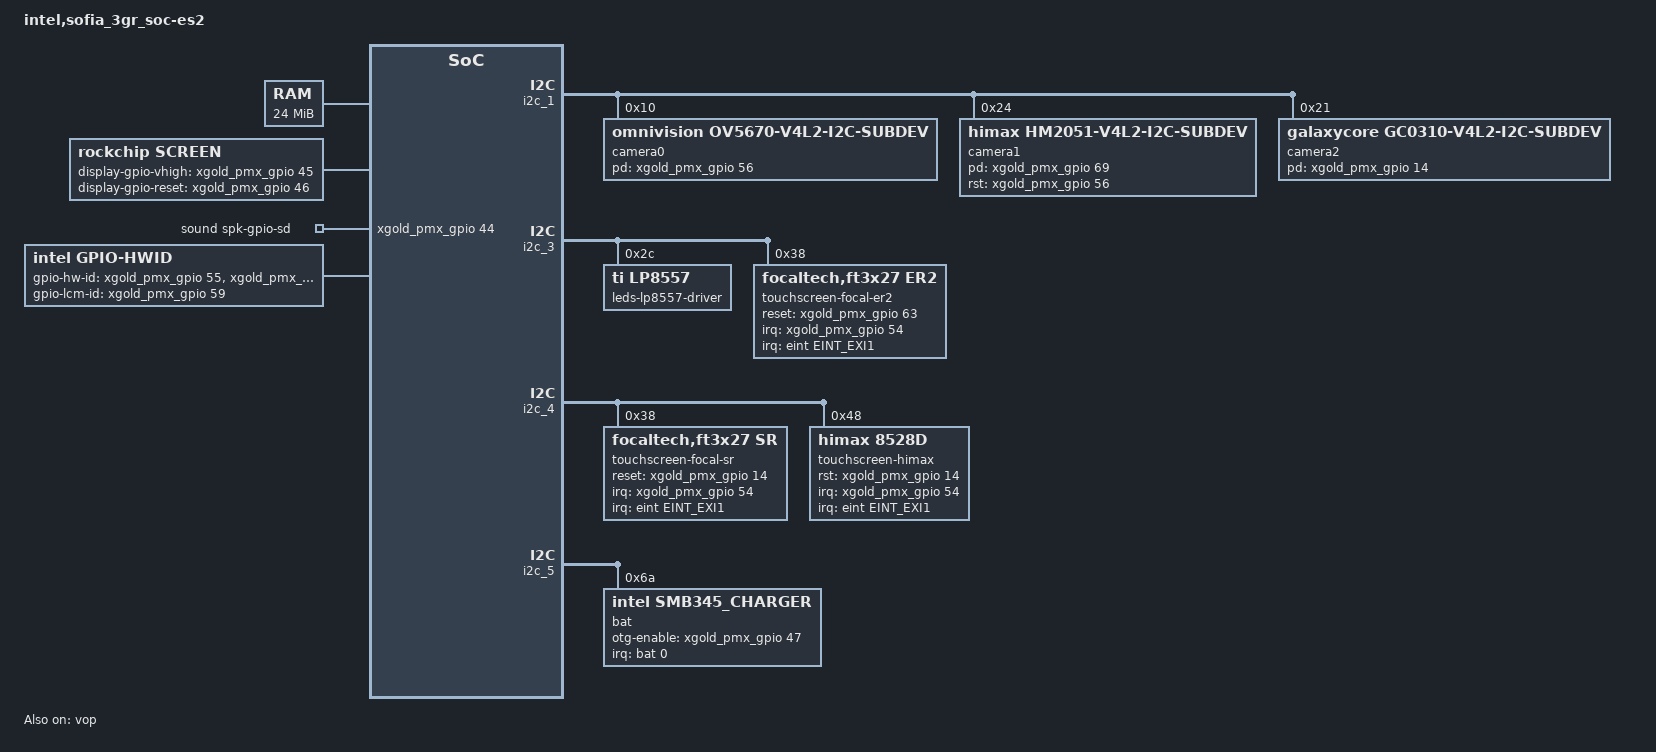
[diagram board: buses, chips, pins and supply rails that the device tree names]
/dts-v1/;
#include "xgold/sofia_3gr_soc/irq.h"
#include <dt-bindings/sofiafb/sofia_fb.h>
/ {
	#address-cells = <1>;
	#size-cells = <1>;
	model = "intel,sofia_3gr_soc-es2";
	compatible = "intel,sofia_3gr_soc-svb", "intel,xgold";

	#define SOFIA_3GR_GARNET_4_LEVEL_CPUFREQ
	#include "xgold/sofia_3gr_soc/sofia_3gr_soc_garnet.dtsi"
	#include "xgold/sofia_3gr_soc/irq.dtsi"
	#include "xgold/mobilevisor/mobilevisor.dtsi"
	#include "xgold/sofia_3gr_soc/clock-es1.dtsi"
	#include "xgold/sofia_3gr_soc/regulator.dtsi"
	#include "xgold/sofia_3gr_soc/device-pm-reg_garnet.dtsi"
	#include "xgold/pmic/granite.dtsi"
	#include "xgold/sofia_3gr_soc/cpufreq.dtsi"
	chosen {
	};

	aliases {
	};

	memory {
		device_type = "memory";
		reg = <0x800000 0x1800000>;
	};

	reserved-memory {
		#address-cells = <1>;
		#size-cells = <1>;
		ranges;

		/* global autoconfigured region for contiguous allocations */
		cma_default_region: region@0 {
			size = <0x03000000>;
			limit = <0x10000000>;
			linux,cma-default;
		};
		/* special region for secured processing devices */
		secured_rga_region: region@10000000 {
			reg = <0x10000000 0x01000000>;
			no-map;
			linux,cma;
			isolate;
		};
		secured_region: region@11000000 {
			reg = <0x11000000 0x05000000>;
			no-map;
			linux,cma;
		};
	};

	vmodem {
		compatible = "intel,vmodem";
		vmodem,nvm-part = < 3 >;
		vmodem,part-names =
			"/dev/block/platform/soc0/e0000000.noc/by-name/ImcPartID022",
			"/dev/block/platform/soc0/e0000000.noc/by-name/ImcPartID023",
			"/dev/block/platform/soc0/e0000000.noc/by-name/ImcPartID024";
		part-addr,part-size =
			<0x1FA78000 0x40000>,
			<0x1fab8000 0x40000>,
			<0x1FAF8000 0x80000>;
	};

	ion {
		compatible = "rockchip,ion";
#ifndef RECOVERY_KERNEL
		secvm-handler;
#endif
		#address-cells = < 1 >;
		#size-cells = < 0 >;
		cma-heap {
			memory-region = <&cma_default_region>;
			rockchip,ion_heap = < 4 >;
		};
		system-heap {
			rockchip,ion_heap = < 0 >;
		};
		secured-rga-heap {
			memory-region = <&secured_rga_region>;
			rockchip,ion_heap = < 5 >;
		};
		secured-heap {
			memory-region = <&secured_region>;
			rockchip,ion_heap = < 6 >;
		};
	};

	backlight:agold620-backlight {
		compatible = "intel,agold620-led";
		reg = <0xE6501800 0x154
			0xE6401134 0x4>;
		reg-names = "pmu-bl", "cgu-bl";
		intel,flags-use-safe-ctrl;
		pm,class-name = "bl_class";
		pm,user-name = "bl";
		pm,state-D0 = "enable";
		pm,state-D3 = "disable";
		intel,led-k2 = <0x143>;
		intel,led-k1max = <0x120>;
		intel,led-k2max = <0xFFFF>;
		intel,led-up = <0x104>;
		intel,led-down = <0x200>;
		intel,led-safe = <0x811>;
		intel,bl-gpio-enable = <&xgold_pmx_gpio 71 0>;
		intel,vmm-secured-access;
		pinctrl-names = "default", "sleep", "inactive";
		pinctrl-0 = <&led_agold_default_pins>;
		pinctrl-1 = <&led_agold_sleep_pins>;
		pinctrl-2 = <&led_agold_inactive_pins>;
        };

#ifndef RECOVERY_KERNEL
	/*headset:headset {
		compatible = "intel,headset";
		#address-cells = < 0 >;
		reg = <0xE6501C00 0x4>;
		reg-names = "headset-registers";
		interrupts = < 0 1 >;
		interrupt-parent = < &headset>;
		#interrupt-cells = < 1 >;
		interrupt-map = <
			 0 &ag620_pmu ABB_PMU_ACD1 XGOLD_IRQ_TYPE_NONE
			 1 &ag620_pmu ABB_PMU_ACD2 XGOLD_IRQ_TYPE_NONE
			>;
		interrupt-names = "acd1", "acd2";
		io-channel-names = "ACCID_ADC";
		io-channels = < &meas 4 >;
	};*/
#endif
	fb {
		compatible = "rockchip,fb";
		rockchip,disp-mode = <NO_DUAL>;
		rockchip,loader-logo-on = <1>;
		rockchip,ion-drv = "rockchip";
	};

	screen {
		compatible = "rockchip,screen", "intel,screen";
		pm,class-name = "generic_class";
		pm,user-name = "lcd";
		pm,state-D0 = "enable";
		pm,state-D3 = "disable";
		intel,display-gpio-vhigh = <&xgold_pmx_gpio 45 0>;
		intel,display-gpio-reset = <&xgold_pmx_gpio 46 0>;
		#include "xgold/display/boe_tv070wsm.dtsi"
		#include "xgold/display/auo_b070atn02.dtsi"
	};

	graphics {
		compatible = "intel,graphics";
		intel,gpu-shared-mem = <0x20000000>;
		intel,dcc-fbpixelformat= "RGB888";
		intel,dcc-debug-level = <1>;
		intel,fb-api = <1>;
#ifdef RECOVERY_KERNEL
		intel,dcc-mem = < 0x00800000 >;
#else
		intel,dcc-use-fences = <1>;
		intel,dcc-mem = < 0x00400000 >;
		intel,prot-mem = < 0x08000000 0x08000000>;
#endif
	};


#ifndef RECOVERY_KERNEL
	sound {
		compatible = "intel,xgold-snd-asoc";
		intel,audio-codec = < &afe >;
		intel,pcm-audio = <&pcm_music>;
		intel,pcm-voice = <&pcm_voice>;
		intel,speech = <&speech_probe>;
		intel,jack = <&headset>;
		intel,spk-gpio-sd = <&xgold_pmx_gpio 44 0>;
		intel,hs-button-levels = <0 65 130 220 225 450>;
		intel,hs-type-levels = <0 65 475 1800>;
	};
#endif
	hwid {
		compatible = "intel,gpio-hwid";
		intel,gpio-hw-id =
			<&xgold_pmx_gpio 55 0>,
			<&xgold_pmx_gpio 48 0>;
		intel,gpio-lcm-id =
			<&xgold_pmx_gpio 59 0>;
		intel,vmm-secured-access;
	};
};

&eint {
	/* intel,virq,x = <0>; means EINTx is owned & requested by IRQ framework */
	intel,virq,0 = <0>; /* EINT_EXI0: ??? */
	intel,virq,1 = <0>; /* EINT_EXI1: TOUCH */
	intel,virq,2 = <0>; /* EINT_EXI2: ??? */
	intel,virq,3 = <0>; /* EINT_EXI3: ??? */
	intel,virq,4 = <1>; /* EINT_EXI4 */
	intel,virq,5 = <1>; /* EINT_EXI5 */
	intel,virq,6 = <0>; /* EINT_EXI6: ??? */
	intel,virq,7 = <1>; /* EINT_EXI7 */
	intel,virq,8 = <0>; /* EINT_EXI8 */
	intel,virq,9 = <1>; /* EINT_EXI9 */
	intel,virq,10 = <1>; /* EINT_EXI10 */
	intel,virq,11 = <1>; /* EINT_EXI11 */
	intel,virq,12 = <0>; /* EINT_EXI12: ??? */
	intel,virq,13 = <1>; /* EINT_EXI13 */
	intel,virq,14 = <1>; /* EINT_EXI14 */
	intel,virq,15 = <1>; /* EINT_EXI15 */
	intel,virq,16 = <0>; /* EINT_USB_HS_RESUME */
	intel,virq,17 = <1>; /* EINT_SDMMC_DETECT */
	intel,virq,18 = <1>; /* EINT_SDIO_DAT3 */
	intel,virq,19 = <1>; /* EINT_SDIO_DAT1 */
	intel,virq,20 = <0>; /* EINT_USIF1_WK */
	intel,virq,21 = <1>; /* EINT_USIF2_WK */
	intel,virq,22 = <1>; /* EINT_WUP_DBB */
	intel,virq,23 = <1>; /* EINT_U2H */
	intel,virq,24 = <1>; /* EINT_G3FP */
	intel,virq,25 = <1>; /* EINT_DTXS */
	intel,virq,26 = <1>; /* EINT_DRXS */
	intel,virq,27 = <1>; /* EINT_WDT0 */
	intel,virq,28 = <1>; /* EINT_WDT1 */
	intel,virq,29 = <0>; /* EINT_USB_ID */

	intel,preack,8 = <1>; /* EINT_EXI8 */
	intel,preack,16 = <1>; /* EINT_USB_HS_RESUME*/
	intel,preack,20 = <1>; /* EINT_USIF1_WK */
};

&idi_per {
	#define SOFIA_3GR_GARNET_EVB
	#include "xgold/agold620/agold620.dtsi"
};

&bat_hal {
	#define BAT_TYPE_LC 0
	#define POWER_SUPPLY_TECHNOLOGY_LION 2

	supp_batids =  < 0 BAT_TYPE_LC >;

	supp_batids-map = "standrd";

	prof-standrd = < POWER_SUPPLY_TECHNOLOGY_LION /*battery_type*/
				  2885 /*capacity*/
				  4350 /*voltage_max*/
				  144 /*chrg_term_ma*/
				  3200 /*low_batt_mv*/
				  60 /*disch_tmp_ul*/
				  0xffffffec /*disch_tmp_ll (-20)*/
				  0 /*min_temp*/
				  3 /*min_temp_restart*/
				  42 /*max_temp_restart*/ >;

	prof-standrd-cap_to_vbat_ocv = <
		3202 3378 3493 3569 3624 3661 3674 3680 3685 3689
		3692 3696 3700 3705 3713 3721 3728 3735 3742 3747
		3752 3758 3763 3767 3770 3773 3776 3778 3780 3782
		3784 3787 3789 3791 3794 3796 3799 3802 3805 3808
		3811 3815 3818 3822 3826 3830 3834 3839 3844 3848
		3854 3859 3865 3871 3877 3884 3891 3899 3907 3915
		3922 3930 3938 3946 3954 3963 3971 3979 3988 3996
		4005 4014 4023 4033 4043 4053 4062 4072 4082 4091
		4102 4112 4122 4133 4143 4154 4165 4176 4187 4198
		4209 4220 4232 4243 4255 4266 4277 4286 4297 4307
		4314 >;


	prof-standrd-ntemp_ranges = <1>;

	prof-standrd-temp_range0 = < 45 /*max_temp*/
					     4320 /*full_chrg_vol*/
					     1500 /*full_chrg_cur*/
					     98 /*charging_res_cap*/
					     4320 /*maint_chrg_vol_ul*/
					     1500 /*maint_chrg_cur*/ >;

	nprofiles = <1>;
};

&fuel_gauge_hal {
	sense_resistor_mohm = <20>;
	gain_error_1_uc_per_mc = <30>;
	gain_error_2_uc_per_mc = <30>;
};

&usif1 {
	pinctrl-names = "default", "sleep", "inactive";
	pinctrl-0 = <&usif1_default_pins>;
	pinctrl-1 = <&usif1_sleep_pins>;
	pinctrl-2 = <&usif1_inactive_pins>;
};
&usif2 {
	pinctrl-names = "default", "sleep", "inactive", "reset";
	pinctrl-0 = <&usif2_default_pins>;
	pinctrl-1 = <&usif2_sleep_pins>;
	pinctrl-2 = <&usif2_inactive_pins>;
	pinctrl-3 = <&usif2_reset_pins>;
};

&i2c_1 {
	pinctrl-names = "default", "sleep", "inactive";
	pinctrl-0 = <&i2c1_default_pins>;
	pinctrl-1 = <&i2c1_sleep_pins>;
	pinctrl-2 = <&i2c1_inactive_pins>;
#ifndef RECOVERY_KERNEL
	camera0: camera-module@0 {
		compatible = "omnivision,ov5670-v4l2-i2c-subdev";
		reg = < 0x10 >;
		device_type = "v4l2-i2c-subdev";

		pinctrl-names = "default", "sleep", "inactive";
		pinctrl-0 = <&cam1_default_pins>;
		pinctrl-1 = <&cam1_sleep_pins>;
		pinctrl-2 = <&cam1_inactive_pins>;

		intel,pd-gpio = <&xgold_pmx_gpio 56 0>;
		/*intel,rst-gpio = <&xgold_pmx_gpio 56 0>;*/
		/*intel,pd-gpio_1v2 = <&xgold_pmx_gpio 68 0>;*/
		intel,pd-gpio-is_active_low;
		/*intel,rst-gpio-is_active_low;*/

		pm,class-name = "generic_class";
		pm,user-name = "primcam";
		pm,state-D0 = "enable";
		pm,state-D3 = "disable";

		/* ["front","back"] */
		intel,camera-module-facing = "back";
		/* ["landscape","landscape-flipped","portrait","portrait-flipped"] */
		intel,camera-module-mounting = "landscape";
		intel,camera-module-flash-support = <1>;
		intel,camera-module-flash-exp-time = <5000>;

		/*intel,af-ctrl = <&afc0>;*/

		intel,camera-module-csi-config-0 {
			intel,csi-pixels-per-second = <0>;
			intel,csi-vc = <0>;
			intel,csi-lanes = <2>;
			intel,csi-dphy1 = <0x60A0241>;
			intel,csi-dphy2 = <0x00>;
			intel,csi-ana-bandgap-bias = <3>;
		};
	};

	camera1: camera-module@1 {
		compatible = "himax,hm2051-v4l2-i2c-subdev";
		reg = < 0x24 >;
		device_type = "v4l2-i2c-subdev";

		pinctrl-names = "default", "sleep", "inactive";
		pinctrl-0 = <&cam1_default_pins>;
		pinctrl-1 = <&cam1_sleep_pins>;
		pinctrl-2 = <&cam1_inactive_pins>;

		intel,pd-gpio = <&xgold_pmx_gpio 69 0>;
		intel,pd-gpio-is_active_low;
		intel,rst-gpio = <&xgold_pmx_gpio 56 0>;
		intel,rst-gpio-is_active_low;

		pm,class-name = "generic_class";
		pm,user-name = "primcam";
		pm,state-D0 = "enable";
		pm,state-D3 = "disable";

		/* ["front","back"] */
		intel,camera-module-facing = "back";
		/* ["landscape","landscape-flipped","portrait","portrait-flipped"] */
		intel,camera-module-mounting = "landscape";

		intel,camera-module-csi-config-0 {
			intel,csi-pixels-per-second = <0>;
			intel,csi-vc = <0>;
			intel,csi-lanes = <1>;
			intel,csi-dphy1 = <0x6014229>;
			intel,csi-dphy2 = <0x00>;
			intel,csi-ana-bandgap-bias = <3>;
		};
	};

	camera2: camera-module@2 {
		compatible = "galaxycore,gc0310-v4l2-i2c-subdev";
		reg = < 0x21 >;
		device_type = "v4l2-i2c-subdev";

		pinctrl-names = "default", "sleep", "inactive";
		pinctrl-0 = <&cam2_default_pins>;
		pinctrl-1 = <&cam2_sleep_pins>;
		pinctrl-2 = <&cam2_inactive_pins>;

		intel,pd-gpio = <&xgold_pmx_gpio 14 0>;

		pm,class-name = "generic_class";
		pm,user-name = "seccam";
		pm,state-D0 = "enable";
		pm,state-D3 = "disable";

		/* ["front","back"] */
		intel,camera-module-facing = "front";
		/* ["landscape","landscape-flipped","portrait","portrait-flipped"] */
		intel,camera-module-mounting = "landscape";
		/*intel,camera-module-flash-support = <1>;
		intel,camera-module-flash-exp-time = <5000>;*/

		intel,camera-module-csi-config-0 {
			intel,csi-pixels-per-second = <0>;
			intel,csi-vc = <0>;
			intel,csi-lanes = <1>;
			intel,csi-dphy1 = <0x6184241>;
			intel,csi-dphy2 = <0x00>;
			intel,csi-ana-bandgap-bias = <3>;
		};
	};
#endif
};

&i2c_3 {
	pinctrl-names = "default", "sleep", "inactive";
	pinctrl-0 = <&i2c3_default_pins>;
	pinctrl-1 = <&i2c3_sleep_pins>;
	pinctrl-2 = <&i2c3_inactive_pins>;

	dmas = < &dma8ch 9 >;
	dma-names = "rxtx";
	intel,i2c,debug;

	leds-lp8557-driver {
		compatible = "ti,lp8557";
		reg = < 0x2c >;
	};
#ifndef RECOVERY_KERNEL
	touchscreen-focal-er2 {
		compatible = "focaltech,ft3x27,er2";
		focaltech,name = "ft3x27";
		reg = < 0x38 >;
		interrupt-parent = <&eint>;
		interrupts = < EINT_EXI1 XGOLD_IRQ_TYPE_EDGE_FALLING >;
		pinctrl-names = "default", "sleep", "inactive";
		pinctrl-0 = <&touch_default_pins_er2>;
		pinctrl-1 = <&touch_sleep_pins_er2>;
		pinctrl-2 = <&touch_inactive_pins_er2>;
		focaltech,reset-gpio = <&xgold_pmx_gpio 63 0>;
		focaltech,irq-gpio = <&xgold_pmx_gpio 54 0>;
		pm,class-name = "ft3x17_class";
		pm,user-name = "ext_tp";
		pm,state-D0 = "enable";
		pm,state-D3 = "disable";
		focaltech,panel-coords = <0 0 600 1024>;
		focaltech,display-coords = <0 0 600 1024>;
		focaltech,button-map= <139 102 158>;
		focaltech,no-force-update;
		focaltech,i2c-pull-up;
		focaltech,group-id = <1>;
		focaltech,hard-reset-delay-ms = <20>;
		focaltech,soft-reset-delay-ms = <200>;
		focaltech,num-max-touches = <5>;
		focaltech,fw-delay-aa-ms = <30>;
		focaltech,fw-delay-55-ms = <30>;
		focaltech,fw-upgrade-id1 = <0x79>;
		focaltech,fw-upgrade-id2 = <0x18>;
		focaltech,fw-delay-readid-ms = <10>;
		focaltech,fw-delay-era-flsh-ms = <2000>;
		focaltech,fw-auto-cal;
		focaltech,ignore-id-check;
	};
#endif
};

&i2c_4 {
	pinctrl-names = "default", "sleep", "inactive";
	pinctrl-0 = <&i2c4_default_pins>;
	pinctrl-1 = <&i2c4_sleep_pins>;
	pinctrl-2 = <&i2c4_inactive_pins>;

#ifndef RECOVERY_KERNEL
	touchscreen-focal-sr {
		compatible = "focaltech,ft3x27,sr";
		focaltech,name = "ft3x27";
		reg = < 0x38 >;
		interrupt-parent = <&eint>;
		interrupts = < EINT_EXI1 XGOLD_IRQ_TYPE_EDGE_FALLING >;
		pinctrl-names = "default", "sleep", "inactive";
		pinctrl-0 = <&touch_default_pins>;
		pinctrl-1 = <&touch_sleep_pins>;
		pinctrl-2 = <&touch_inactive_pins>;
		focaltech,reset-gpio = <&xgold_pmx_gpio 14 0>;
		focaltech,irq-gpio = <&xgold_pmx_gpio 54 0>;
		pm,class-name = "ft3x17_class";
		pm,user-name = "ext_tp";
		pm,state-D0 = "enable";
		pm,state-D3 = "disable";
		focaltech,panel-coords = <0 0 600 1024>;
		focaltech,display-coords = <0 0 600 1024>;
		focaltech,button-map= <139 102 158>;
		focaltech,no-force-update;
		focaltech,i2c-pull-up;
		focaltech,group-id = <1>;
		focaltech,hard-reset-delay-ms = <20>;
		focaltech,soft-reset-delay-ms = <200>;
		focaltech,num-max-touches = <5>;
		focaltech,fw-delay-aa-ms = <30>;
		focaltech,fw-delay-55-ms = <30>;
		focaltech,fw-upgrade-id1 = <0x79>;
		focaltech,fw-upgrade-id2 = <0x18>;
		focaltech,fw-delay-readid-ms = <10>;
		focaltech,fw-delay-era-flsh-ms = <2000>;
		focaltech,fw-auto-cal;
		focaltech,ignore-id-check;
	};
	touchscreen-himax {
		compatible = "himax,8528d";
		reg = < 0x48 >;
		interrupt-parent = <&eint>;
		interrupts = < EINT_EXI1 XGOLD_IRQ_TYPE_EDGE_FALLING >;
		pinctrl-names = "default", "sleep", "inactive";
		pinctrl-0 = <&touch_default_pins>;
		pinctrl-1 = <&touch_sleep_pins>;
		pinctrl-2 = <&touch_inactive_pins>;
		himax,rst-gpio = <&xgold_pmx_gpio 14 0>;
		himax,irq-gpio = <&xgold_pmx_gpio 54 0>;
		pm,class-name = "generic_class";
		pm,user-name = "tp";
		pm,state-D0 = "enable";
		pm,state-D3 = "disable";
		himax,panel-coords = <0 600 0 1024>;
		himax,display-coords = <0 600 0 1024>;
		report_type = <1>;
	};
#endif
};

&i2c_5 {
	pinctrl-names = "default", "sleep", "inactive";
	pinctrl-0 = <&i2c5_agold_default_pins>;
	pinctrl-1 = <&i2c5_agold_sleep_pins>;
	pinctrl-2 = <&i2c5_agold_inactive_pins>;
	bat:battery {
		compatible = "intel,smb345_charger";
		reg = < 0x6a >;
		interrupts = < 0 1 >;
		interrupt-parent = < &bat>;
		#interrupt-cells = < 1 >;
		interrupt-map = < 0 &ag620_pmu ABB_PMU_CI XGOLD_IRQ_TYPE_NONE 1 &ag620_pmu ABB_PMU_CSTAT XGOLD_IRQ_TYPE_EDGE_BOTH >; /* CI */
		pinctrl-names = "default", "sleep", "inactive";
		pinctrl-0 = < &chg_agold_default_pins >;
		pinctrl-1 = < &chg_agold_sleep_pins >;
		pinctrl-2 = < &chg_agold_inactive_pins >;
		intel,otg-enable = < &xgold_pmx_gpio 47 0 >;
		intel,chgint-debounce = < 50 >;
	};
};

&gnss {
	pinctrl-names = "default", "sleep", "inactive", "default_lna", "inactive_lna", "default_fta", "inactive_fta", "gnss_default", "gnss_inactive";
	pinctrl-0 = <&tcxo_agold_default_pins>;
	pinctrl-1 = <&tcxo_agold_sleep_pins>;
	pinctrl-2 = <&tcxo_agold_inactive_pins>;
	pinctrl-3 = <&ext_agold_default_pins>;
	pinctrl-4 = <&ext_agold_sleep_pins>;
	pinctrl-5 = <&gnss_agold_default_pins>;
	pinctrl-6 = <&gnss_agold_sleep_pins>;
	pinctrl-7 = <&gnss_default_pins>;
	pinctrl-8 = <&gnss_inactive_pins>;
};

#ifndef RECOVERY_KERNEL
&afe {
	pinctrl-names = "default", "sleep", "inactive";
	pinctrl-0 = <&dm_agold_default_pins>;
	pinctrl-1 = <&dm_agold_sleep_pins>;
	pinctrl-2 = <&dm_agold_inactive_pins>;
};
#endif

&sd {
	intel,tap_values = <0x0C41020 0x0C41020 0x0C41020 0x04f4120 0x0C41020 0x0F40F20 0x0F40F20>;
	pinctrl-names = "default", "sleep", "inactive";
	pinctrl-0 = <&sdmmc_default_pins>;
	pinctrl-1 = <&sdmmc_sleep_pins>;
	pinctrl-2 = <&sdmmc_inactive_pins>;
};

&emmc {
	intel,tap_values = < 0x00c41020  0x006f1020   0x00c41020  0x004e1020  0x00c41020  0x00a40f10  0x00c41020 >;
	pinctrl-names = "default", "sleep", "inactive";
	pinctrl-0 = <&emmc_default_pins>;
	pinctrl-1 = <&emmc_sleep_pins>;
	pinctrl-2 = <&emmc_inactive_pins>;

};

&usb {
	pinctrl-names = "default", "sleep", "inactive";
	pinctrl-0 = <&usb_default_pins>;
	pinctrl-1 = <&usb_sleep_pins>;
	pinctrl-2 = <&usb_inactive_pins>;
};

&keypad {
	pinctrl-names = "default", "sleep", "inactive";
	pinctrl-0 = <&kp_default_pins>;
	pinctrl-1 = <&kp_sleep_pins>;
	pinctrl-2 = <&kp_inactive_pins>;
	keypad,num-rows = <9>;
	keypad,num-columns = <8>;
	keypad,rows = <3 8>;
	keypad,columns = <3 4>;
	linux,keymap = <0x08070072	/* KEY_VOLUMEDOWN */
			0x08060073	/* KEY_VOLUMEUP */
			0x08030074	/* KEY_POWER */
			0x08040066>;	/* KEY_HOME */
};

&vop {
	status = "okay";
	rockchip,fb-win-map = <FB_DEFAULT_ORDER>;
};

#ifndef RECOVERY_KERNEL
&cif {
	intel,camera-modules-attached = <&camera0 &camera1 &camera2>;
};
#endif

#include "xgold/sofia_3gr_soc/pinctrl-sf_3gr-sr-garnet.dtsi"
#include "xgold/agold620/pinctrl-sf_3gr-sr-garnet.dtsi"
